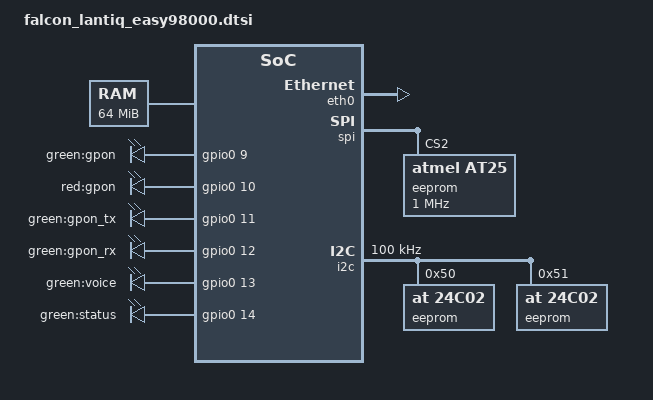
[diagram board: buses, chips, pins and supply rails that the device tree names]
#include "falcon.dtsi"

#include <dt-bindings/interrupt-controller/irq.h>
#include <dt-bindings/gpio/gpio.h>

/ {
	compatible = "lantiq,easy98000", "lantiq,falcon";

	memory@0 {
		device_type = "memory";
		reg = <0x0 0x4000000>;
	};

	leds {
		compatible = "gpio-leds";
		pinctrl-names = "default";
		pinctrl-0 = <&bootled_pins>;

		LED_0 {
			label = "green:gpon";
			gpios = <&gpio0 9 GPIO_ACTIVE_HIGH>;
			default-state = "keep";
		};
		LED_1 {
			label = "red:gpon";
			gpios = <&gpio0 10 GPIO_ACTIVE_HIGH>;
			default-state = "keep";
		};
		LED_2 {
			label = "green:gpon_tx";
			gpios = <&gpio0 11 GPIO_ACTIVE_HIGH>;
			default-state = "keep";
		};
		LED_3 {
			label = "green:gpon_rx";
			gpios = <&gpio0 12 GPIO_ACTIVE_HIGH>;
			default-state = "keep";
		};
		LED_4 {
			label = "green:voice";
			gpios = <&gpio0 13 GPIO_ACTIVE_HIGH>;
			default-state = "keep";
		};
		LED_5 {
			label = "green:status";
			gpios = <&gpio0 14 GPIO_ACTIVE_HIGH>;
			default-state = "keep";
		};
	};
};

&ebu_cs1 {
	eth0: ethernet@3 {
		compatible = "davicom,dm9000";
		device_type = "network";
		reg = <0x0000003 0x1>, <0x0000001 0x1>;
		reg-names = "addr", "data";
		interrupt-parent = <&gpio1>;
		#interrupt-cells = <2>;
		interrupts = <10 IRQ_TYPE_LEVEL_LOW>;
		local-mac-address = [ 00 00 00 00 00 00 ];
	};

	cpld@3c00000 {
		compatible = "lantiq,easy98000_addon";
		reg = <0x3c00000 0x2>;
	};

	cpld@3c0000c {
		compatible = "lantiq,easy98000_cpld_led";
		reg = <0x3c0000c 0x2>,  <0x3c00012 0x2>;
	};
};

/* // enable this for second uart:
&serial1 {
	status = "okay";
};*/

&spi {
	status = "okay";

	eeprom@2 {
		compatible = "atmel,at25", "atmel,at25160n";
		reg = <2>;
		spi-max-frequency = <1000000>;
		spi-cpha;
		spi-cpol;

		pagesize = <32>;
		size = <2048>;
		address-width = <16>;
	};
};

&i2c {
	status = "okay";

	clock-frequency = <100000>;

	/* eeprom-emulation by OMU */
	eeprom@50 {
		compatible = "at,24c02";
		reg = <0x50>;
	};
	eeprom@51 {
		compatible = "at,24c02";
		reg = <0x51>;
	};
};
